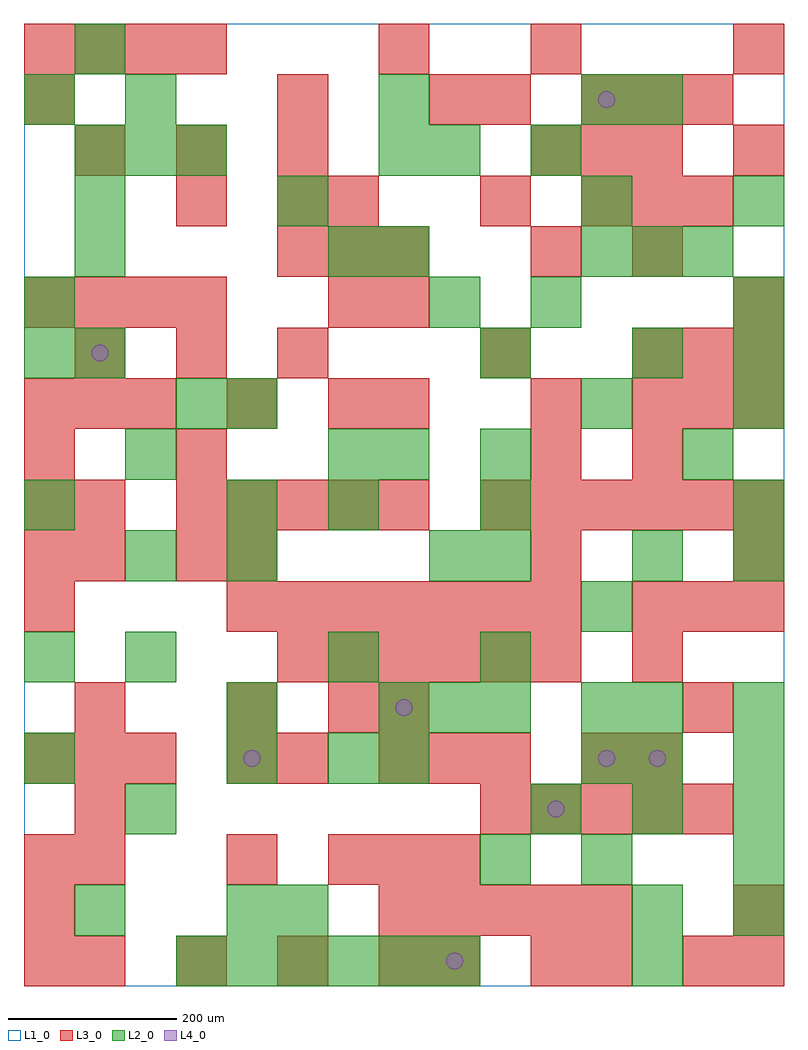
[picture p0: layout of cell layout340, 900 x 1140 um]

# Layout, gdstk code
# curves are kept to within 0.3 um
import gdstk
lib = gdstk.Library(unit=1e-6, precision=1e-09)
def R(c, l, rs):  # rectangles x0, y0, x1, y1
    for r in rs: c.add(gdstk.rectangle(r[:2], r[2:], *l))
def A(c, l, x, y, w, h, nx, ny, dx, dy):  # array of equal rectangles
    R(c, l, [(x+i*dx, y+j*dy, x+i*dx+w, y+j*dy+h) for i in range(nx) for j in range(ny)])
def P(c, l, *ps):  # polygons
    for p in ps: c.add(gdstk.Polygon(p, *l))
L1_0 = (1, 0)
L2_0 = (2, 0)
L3_0 = (3, 0)
L4_0 = (4, 0)

layout340 = lib.new_cell('layout340')
R(layout340, L1_0, [(0,0,900,1140)])
A(layout340, L2_0, 180, 0, 60, 60, 6, 1, 60, 0)
A(layout340, L2_0, 600, 180, 60, 60, 3, 1, 120, 0)
A(layout340, L2_0, 420, 300, 60, 60, 3, 1, 60, 0)
A(layout340, L2_0, 0, 360, 60, 60, 1, 3, 0, 180)
A(layout340, L2_0, 120, 360, 60, 60, 1, 3, 0, 120)
A(layout340, L2_0, 660, 420, 60, 60, 1, 3, 0, 240)
A(layout340, L2_0, 540, 480, 60, 60, 1, 3, 0, 60)
A(layout340, L2_0, 840, 660, 60, 60, 1, 3, 0, 60)
A(layout340, L2_0, 660, 840, 60, 60, 3, 1, 60, 0)
A(layout340, L2_0, 60, 960, 60, 60, 3, 1, 60, 0)
R(layout340, L2_0, [(720,0,780,60), (60,60,120,120), (240,60,300,120), (300,60,360,120), (720,60,780,120), (840,60,900,120), (540,120,600,180), (660,120,720,180), (840,120,900,180), (120,180,180,240), (0,240,60,300), (240,240,300,300), (360,240,420,300), (420,240,480,300), (660,240,720,300), (720,240,780,300), (840,240,900,300), (240,300,300,360), (660,300,720,360), (720,300,780,360), (840,300,900,360), (360,360,420,420), (540,360,600,420), (240,480,300,540), (480,480,540,540), (720,480,780,540), (840,480,900,540), (240,540,300,600), (360,540,420,600), (840,540,900,600), (360,600,420,660), (420,600,480,660), (780,600,840,660), (180,660,240,720), (240,660,300,720), (60,720,120,780), (540,720,600,780), (720,720,780,780), (0,780,60,840), (480,780,540,840), (600,780,660,840), (60,840,120,900), (360,840,420,900), (420,840,480,900), (60,900,120,960), (300,900,360,960), (840,900,900,960), (420,960,480,1020), (480,960,540,1020), (600,960,660,1020), (0,1020,60,1080), (120,1020,180,1080), (420,1020,480,1080), (660,1020,720,1080), (720,1020,780,1080), (60,1080,120,1140)])
A(layout340, L3_0, 0, 0, 60, 60, 1, 3, 0, 60)
A(layout340, L3_0, 60, 0, 60, 60, 4, 1, 120, 0)
A(layout340, L3_0, 420, 60, 60, 60, 5, 1, 60, 0)
A(layout340, L3_0, 360, 120, 60, 60, 3, 1, 60, 0)
A(layout340, L3_0, 540, 180, 60, 60, 5, 1, 60, 0)
A(layout340, L3_0, 0, 240, 60, 60, 3, 2, 60, 420)
A(layout340, L3_0, 420, 240, 60, 60, 3, 1, 60, 0)
A(layout340, L3_0, 240, 300, 60, 60, 1, 3, 0, 180)
A(layout340, L3_0, 300, 360, 60, 60, 6, 1, 60, 0)
A(layout340, L3_0, 720, 360, 60, 60, 1, 3, 0, 240)
A(layout340, L3_0, 0, 420, 60, 60, 1, 4, 0, 60)
A(layout340, L3_0, 240, 420, 60, 60, 7, 1, 60, 0)
A(layout340, L3_0, 720, 420, 60, 60, 3, 2, 60, 240)
A(layout340, L3_0, 180, 540, 60, 60, 5, 1, 60, 0)
A(layout340, L3_0, 540, 540, 60, 60, 6, 1, 60, 0)
A(layout340, L3_0, 360, 660, 60, 60, 1, 3, 0, 120)
A(layout340, L3_0, 60, 720, 60, 60, 3, 2, 120, 240)
A(layout340, L3_0, 720, 720, 60, 60, 3, 1, 60, 0)
A(layout340, L3_0, 0, 780, 60, 60, 4, 2, 60, 300)
A(layout340, L3_0, 300, 840, 60, 60, 3, 1, 60, 0)
A(layout340, L3_0, 660, 900, 60, 60, 3, 2, 60, 120)
A(layout340, L3_0, 600, 960, 60, 60, 3, 1, 60, 0)
R(layout340, L3_0, [(480,0,540,60), (600,0,660,60), (660,0,720,60), (780,0,840,60), (840,0,900,60), (840,60,900,120), (60,120,120,180), (240,120,300,180), (60,180,120,240), (240,240,300,300), (300,240,360,300), (660,240,720,300), (720,240,780,300), (60,300,120,360), (360,300,420,360), (420,300,480,360), (780,300,840,360), (60,480,120,540), (180,480,240,540), (600,480,660,540), (840,480,900,540), (60,540,120,600), (180,600,240,660), (600,600,660,660), (420,660,480,720), (600,660,660,720), (540,720,600,780), (420,780,480,840), (840,780,900,840), (600,840,660,900), (180,900,240,960), (300,900,360,960), (540,900,600,960), (840,960,900,1020), (0,1020,60,1080), (300,1020,360,1080), (480,1020,540,1080), (540,1020,600,1080), (420,1080,480,1140), (600,1080,660,1140), (840,1080,900,1140)])
P(layout340, L4_0, [(100,750),(99.239,753.827),(97.071,757.071),(93.827,759.239),(90,760),(86.173,759.239),(82.929,757.071),(80.761,753.827),(80,750),(80.761,746.173),(82.929,742.929),(86.173,740.761),(90,740),(93.827,740.761),(97.071,742.929),(99.239,746.173)],
  [(280,270),(279.239,273.827),(277.071,277.071),(273.827,279.239),(270,280),(266.173,279.239),(262.929,277.071),(260.761,273.827),(260,270),(260.761,266.173),(262.929,262.929),(266.173,260.761),(270,260),(273.827,260.761),(277.071,262.929),(279.239,266.173)],
  [(460,330),(459.239,333.827),(457.071,337.071),(453.827,339.239),(450,340),(446.173,339.239),(442.929,337.071),(440.761,333.827),(440,330),(440.761,326.173),(442.929,322.929),(446.173,320.761),(450,320),(453.827,320.761),(457.071,322.929),(459.239,326.173)],
  [(520,30),(519.239,33.827),(517.071,37.071),(513.827,39.239),(510,40),(506.173,39.239),(502.929,37.071),(500.761,33.827),(500,30),(500.761,26.173),(502.929,22.929),(506.173,20.761),(510,20),(513.827,20.761),(517.071,22.929),(519.239,26.173)],
  [(640,210),(639.239,213.827),(637.071,217.071),(633.827,219.239),(630,220),(626.173,219.239),(622.929,217.071),(620.761,213.827),(620,210),(620.761,206.173),(622.929,202.929),(626.173,200.761),(630,200),(633.827,200.761),(637.071,202.929),(639.239,206.173)],
  [(700,270),(699.239,273.827),(697.071,277.071),(693.827,279.239),(690,280),(686.173,279.239),(682.929,277.071),(680.761,273.827),(680,270),(680.761,266.173),(682.929,262.929),(686.173,260.761),(690,260),(693.827,260.761),(697.071,262.929),(699.239,266.173)],
  [(700,1050),(699.239,1053.827),(697.071,1057.071),(693.827,1059.239),(690,1060),(686.173,1059.239),(682.929,1057.071),(680.761,1053.827),(680,1050),(680.761,1046.173),(682.929,1042.929),(686.173,1040.761),(690,1040),(693.827,1040.761),(697.071,1042.929),(699.239,1046.173)],
  [(760,270),(759.239,273.827),(757.071,277.071),(753.827,279.239),(750,280),(746.173,279.239),(742.929,277.071),(740.761,273.827),(740,270),(740.761,266.173),(742.929,262.929),(746.173,260.761),(750,260),(753.827,260.761),(757.071,262.929),(759.239,266.173)])

lib.write_gds('layout340.gds')
